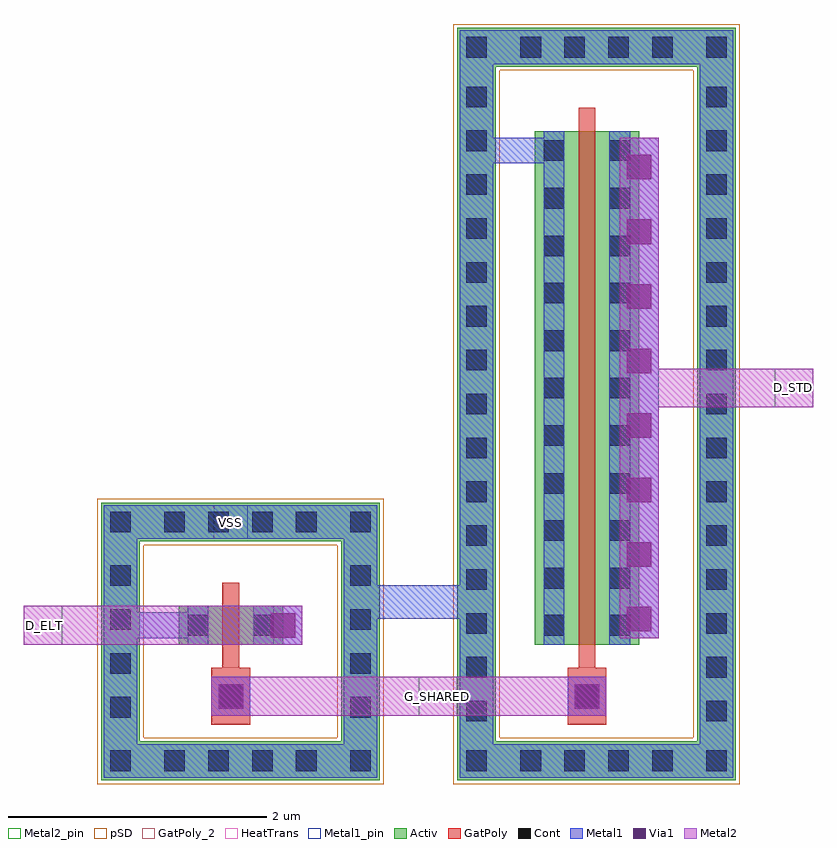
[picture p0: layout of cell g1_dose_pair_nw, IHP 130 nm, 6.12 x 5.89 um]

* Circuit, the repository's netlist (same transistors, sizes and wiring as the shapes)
* Extracted by KLayout with SG13G2 LVS runset on : 18/09/2026 20:40

.SUBCKT g1_dose_pair_nw D_ELT D_STD G_SHARED VSS
M$1 VSS G_SHARED D_STD VSS sg13_lv_nmos L=0.13u W=3.98u AS=1.3532p AD=1.3532p
+ PS=8.64u PD=8.64u rfmode=0
M$2 VSS G_SHARED D_ELT VSS sg13_lv_nmos L=0.13u W=0.3u AS=0.102p AD=0.102p
+ PS=1.28u PD=1.28u rfmode=0
.ENDS g1_dose_pair_nw

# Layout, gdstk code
import gdstk
lib = gdstk.Library(unit=1e-6, precision=1e-09)
def R(c, l, rs):  # rectangles x0, y0, x1, y1
    for r in rs: c.add(gdstk.rectangle(r[:2], r[2:], *l))
def A(c, l, x, y, w, h, nx, ny, dx, dy):  # array of equal rectangles
    R(c, l, [(x+i*dx, y+j*dy, x+i*dx+w, y+j*dy+h) for i in range(nx) for j in range(ny)])
def P(c, l, *ps):  # polygons
    for p in ps: c.add(gdstk.Polygon(p, *l))
Activ = (1, 0)
GatPoly = (5, 0)
GatPoly_2 = (5, 2)
Cont = (6, 0)
Metal1 = (8, 0)
Metal1_pin = (8, 2)
Metal2 = (10, 0)
Metal2_pin = (10, 2)
pSD = (14, 0)
Via1 = (19, 0)
HeatTrans = (51, 0)

nmos = lib.new_cell('nmos')
R(nmos, Activ, [(0,0,0.3,0.3), (0,0,0.81,0.3), (0.51,0,0.81,0.3)])
R(nmos, GatPoly, [(0.34,-0.18,0.47,0.48)])
R(nmos, GatPoly_2, [(0.34,-0.18,0.47,0.48)])
R(nmos, Cont, [(0.07,0.07,0.23,0.23), (0.58,0.07,0.74,0.23)])
R(nmos, Metal1, [(0.07,0,0.23,0.3), (0.58,0,0.74,0.3)])
R(nmos, Metal1_pin, [(0.07,0,0.23,0.3), (0.58,0,0.74,0.3)])
R(nmos, HeatTrans, [(0.34,-0.18,0.47,0.48)])
nmos.add(gdstk.Label('nmos', (0.405,0.15), layer=63, texttype=0))
nmos.add(gdstk.Label('nmos', (0.405,0.15), layer=51, texttype=0))

nmos_1 = lib.new_cell('nmos$1')
R(nmos_1, Activ, [(0,0,0.3,0.3), (0,0,0.81,3.98), (0.51,0,0.81,0.3)])
R(nmos_1, GatPoly, [(0.34,-0.18,0.47,4.16)])
R(nmos_1, GatPoly_2, [(0.34,-0.18,0.47,4.16)])
A(nmos_1, Cont, 0.07, 1.17, 0.16, 0.16, 1, 3, 0, 0.37)
A(nmos_1, Cont, 0.58, 1.17, 0.16, 0.16, 1, 3, 0, 0.37)
A(nmos_1, Cont, 0.07, 3.01, 0.16, 0.16, 1, 3, 0, 0.37)
A(nmos_1, Cont, 0.58, 3.01, 0.16, 0.16, 1, 3, 0, 0.37)
R(nmos_1, Cont, [(0.07,0.07,0.23,0.23), (0.58,0.07,0.74,0.23), (0.07,0.435,0.23,0.595), (0.58,0.435,0.74,0.595), (0.07,0.805,0.23,0.965), (0.58,0.805,0.74,0.965), (0.07,2.275,0.23,2.435), (0.58,2.275,0.74,2.435), (0.07,2.645,0.23,2.805), (0.58,2.645,0.74,2.805)])
R(nmos_1, Metal1, [(0.07,0,0.23,3.98), (0.58,0,0.74,3.98)])
R(nmos_1, Metal1_pin, [(0.07,0,0.23,3.98), (0.58,0,0.74,3.98)])
R(nmos_1, HeatTrans, [(0.34,-0.18,0.47,4.16)])
nmos_1.add(gdstk.Label('nmos', (0.405,1.99), layer=63, texttype=0))
nmos_1.add(gdstk.Label('nmos', (0.405,1.99), layer=51, texttype=0))

g1_dose_pair_nw = lib.new_cell('g1_dose_pair_nw')
P(g1_dose_pair_nw, Activ, [(-0.6,-0.65),(-0.6,1.2),(-0.3,1.2),(-0.3,-0.35),(1.26,-0.35),(1.26,1.2),(-0.6,1.2),(-0.6,1.5),(1.56,1.5),(1.56,-0.65)],
  [(2.16,-0.65),(2.16,4.88),(2.46,4.88),(2.46,-0.35),(4.02,-0.35),(4.02,4.88),(2.16,4.88),(2.16,5.18),(4.32,5.18),(4.32,-0.65)])
R(g1_dose_pair_nw, GatPoly, [(0.255,-0.22,0.555,0.22), (3.015,-0.22,3.315,0.22)])
A(g1_dose_pair_nw, Cont, -0.11, -0.58, 0.16, 0.16, 4, 2, 0.34, 1.85)
A(g1_dose_pair_nw, Cont, 2.65, -0.58, 0.16, 0.16, 4, 2, 0.34, 5.53)
A(g1_dose_pair_nw, Cont, 2.23, -0.195, 0.16, 0.16, 1, 15, 0, 0.34)
A(g1_dose_pair_nw, Cont, 4.09, -0.195, 0.16, 0.16, 1, 15, 0, 0.34)
A(g1_dose_pair_nw, Cont, -0.53, -0.165, 0.16, 0.16, 1, 4, 0, 0.34)
A(g1_dose_pair_nw, Cont, 1.33, -0.165, 0.16, 0.16, 1, 4, 0, 0.34)
R(g1_dose_pair_nw, Cont, [(-0.53,-0.58,-0.37,-0.42), (1.33,-0.58,1.49,-0.42), (2.23,-0.58,2.39,-0.42), (4.09,-0.58,4.25,-0.42), (0.325,-0.08,0.485,0.08), (3.085,-0.08,3.245,0.08), (-0.53,1.27,-0.37,1.43), (1.33,1.27,1.49,1.43), (2.23,4.95,2.39,5.11), (4.09,4.95,4.25,5.11)])
R(g1_dose_pair_nw, Metal1, [(0.255,-0.15,0.555,0.15), (3.015,-0.15,3.315,0.15), (0.66,0.4,0.96,0.7), (-0.45,0.45,0.23,0.65), (3.42,0.45,3.72,4.33), (1.41,0.6,2.31,0.86), (2.31,4.13,2.99,4.33)])
P(g1_dose_pair_nw, Metal1, [(-0.58,-0.63),(-0.58,1.22),(-0.32,1.22),(-0.32,-0.37),(1.28,-0.37),(1.28,1.22),(-0.58,1.22),(-0.58,1.48),(1.54,1.48),(1.54,-0.63)],
  [(2.18,-0.63),(2.18,4.9),(2.44,4.9),(2.44,-0.37),(4.04,-0.37),(4.04,4.9),(2.18,4.9),(2.18,5.16),(4.3,5.16),(4.3,-0.63)])
R(g1_dose_pair_nw, Metal1_pin, [(0.275,1.22,0.535,1.48)])
R(g1_dose_pair_nw, Metal2, [(0.255,-0.15,3.315,0.15), (-1.2,0.4,0.96,0.7), (0.66,0.4,0.96,0.7), (3.42,0.45,3.72,4.33), (3.42,2.24,4.92,2.54)])
R(g1_dose_pair_nw, Metal2_pin, [(1.86,-0.15,2.16,0.15), (-1.2,0.4,-0.9,0.7), (4.62,2.24,4.92,2.54)])
P(g1_dose_pair_nw, pSD, [(-0.63,-0.68),(-0.63,1.17),(-0.27,1.17),(-0.27,-0.32),(1.23,-0.32),(1.23,1.17),(-0.63,1.17),(-0.63,1.53),(1.59,1.53),(1.59,-0.68)],
  [(2.13,-0.68),(2.13,4.85),(2.49,4.85),(2.49,-0.32),(3.99,-0.32),(3.99,4.85),(2.13,4.85),(2.13,5.21),(4.35,5.21),(4.35,-0.68)])
A(g1_dose_pair_nw, Via1, 3.475, 0.505, 0.19, 0.19, 1, 8, 0, 0.5)
R(g1_dose_pair_nw, Via1, [(0.31,-0.095,0.5,0.095), (3.07,-0.095,3.26,0.095), (0.715,0.455,0.905,0.645)])
g1_dose_pair_nw.add(gdstk.Reference(nmos, (0,0.4)))
g1_dose_pair_nw.add(gdstk.Reference(nmos_1, (2.76,0.4)))
g1_dose_pair_nw.add(gdstk.Label('VSS', (0.405,1.35), layer=8, texttype=25))
g1_dose_pair_nw.add(gdstk.Label('G_SHARED', (2.01,0), layer=10, texttype=25))
g1_dose_pair_nw.add(gdstk.Label('D_ELT', (-1.05,0.55), layer=10, texttype=25))
g1_dose_pair_nw.add(gdstk.Label('D_STD', (4.77,2.39), layer=10, texttype=25))

lib.write_gds('g1_dose_pair_nw.gds')
